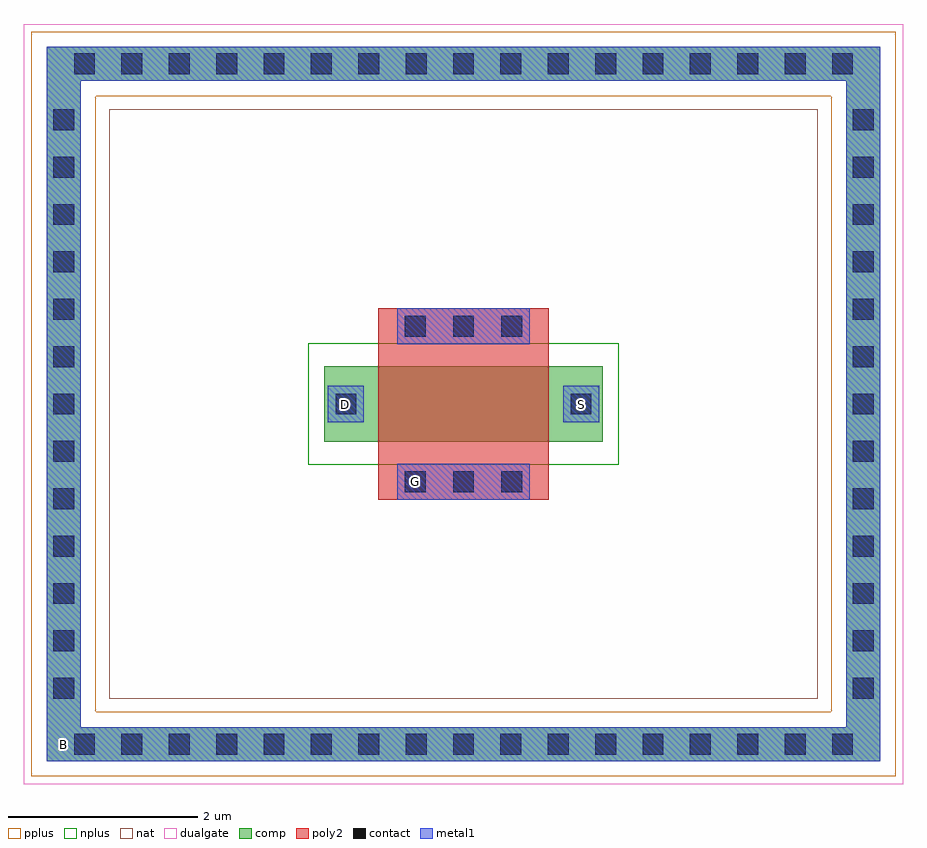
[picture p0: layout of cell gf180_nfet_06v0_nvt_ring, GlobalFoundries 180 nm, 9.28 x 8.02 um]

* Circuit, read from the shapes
.subckt gf180_nfet_06v0_nvt_ring B D G S
XM1 S G D B nfet_06v0_nvt w=0.8u l=1.8u
.ends

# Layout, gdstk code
import gdstk
lib = gdstk.Library(unit=1e-6, precision=1e-09)
def R(c, l, rs):  # rectangles x0, y0, x1, y1
    for r in rs: c.add(gdstk.rectangle(r[:2], r[2:], *l))
def A(c, l, x, y, w, h, nx, ny, dx, dy):  # array of equal rectangles
    R(c, l, [(x+i*dx, y+j*dy, x+i*dx+w, y+j*dy+h) for i in range(nx) for j in range(ny)])
def P(c, l, *ps):  # polygons
    for p in ps: c.add(gdstk.Polygon(p, *l))
nat = (5, 0)
comp = (22, 0)
poly2 = (30, 0)
pplus = (31, 0)
nplus = (32, 0)
contact = (33, 0)
metal1 = (34, 0)
dualgate = (55, 0)

nfet_06v0_nvt = lib.new_cell('nfet_06v0_nvt')
R(nfet_06v0_nvt, nat, [(-2.73,-2.71,4.75,3.51)])
R(nfet_06v0_nvt, comp, [(-0.46,0,2.48,0.8)])
R(nfet_06v0_nvt, poly2, [(0.11,-0.61,1.91,1.41)])
R(nfet_06v0_nvt, nplus, [(-0.63,-0.24,2.65,1.04)])
A(nfet_06v0_nvt, contact, 0.39, -0.53, 0.22, 0.22, 3, 2, 0.51, 1.64)
R(nfet_06v0_nvt, contact, [(-0.34,0.29,-0.12,0.51), (2.14,0.29,2.36,0.51)])
R(nfet_06v0_nvt, metal1, [(0.31,-0.61,1.71,-0.23), (-0.42,0.21,-0.04,0.59), (2.06,0.21,2.44,0.59), (0.31,1.03,1.71,1.41)])
R(nfet_06v0_nvt, dualgate, [(-2.73,-2.71,4.75,3.51)])

gf180_nfet_06v0_nvt_ring = lib.new_cell('gf180_nfet_06v0_nvt_ring')
P(gf180_nfet_06v0_nvt_ring, comp, [(-3.39,-3.37),(-3.39,3.81),(-3.03,3.81),(-3.03,-3.01),(5.05,-3.01),(5.05,3.81),(-3.39,3.81),(-3.39,4.17),(5.41,4.17),(5.41,-3.37)])
P(gf180_nfet_06v0_nvt_ring, pplus, [(-3.55,-3.53),(-3.55,3.65),(-2.87,3.65),(-2.87,-2.85),(4.89,-2.85),(4.89,3.65),(-3.55,3.65),(-3.55,4.33),(5.57,4.33),(5.57,-3.53)])
A(gf180_nfet_06v0_nvt_ring, contact, -3.1, -3.3, 0.22, 0.22, 17, 2, 0.5, 7.18)
A(gf180_nfet_06v0_nvt_ring, contact, -3.32, -2.71, 0.22, 0.22, 1, 13, 0, 0.5)
A(gf180_nfet_06v0_nvt_ring, contact, 5.12, -2.71, 0.22, 0.22, 1, 13, 0, 0.5)
P(gf180_nfet_06v0_nvt_ring, metal1, [(-3.39,-3.37),(-3.39,3.81),(-3.03,3.81),(-3.03,-3.01),(5.05,-3.01),(5.05,3.81),(-3.39,3.81),(-3.39,4.17),(5.41,4.17),(5.41,-3.37)])
R(gf180_nfet_06v0_nvt_ring, dualgate, [(-3.63,-3.61,5.65,4.41)])
gf180_nfet_06v0_nvt_ring.add(gdstk.Reference(nfet_06v0_nvt, (0,0)))
gf180_nfet_06v0_nvt_ring.add(gdstk.Label('D', (-0.23,0.4), layer=34, texttype=10))
gf180_nfet_06v0_nvt_ring.add(gdstk.Label('S', (2.25,0.4), layer=34, texttype=10))
gf180_nfet_06v0_nvt_ring.add(gdstk.Label('G', (0.5,-0.42), layer=34, texttype=10))
gf180_nfet_06v0_nvt_ring.add(gdstk.Label('B', (-3.21,-3.19), layer=34, texttype=10))

lib.write_gds('gf180_nfet_06v0_nvt_ring.gds')
